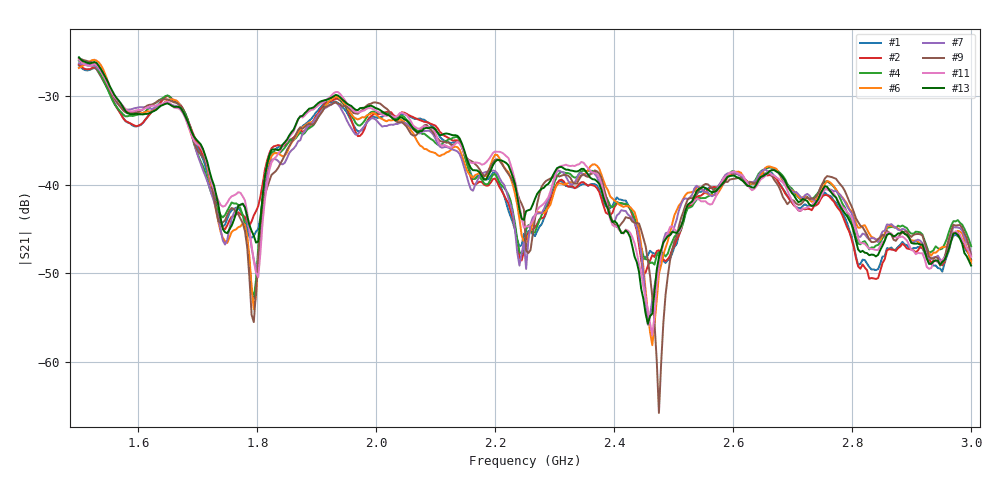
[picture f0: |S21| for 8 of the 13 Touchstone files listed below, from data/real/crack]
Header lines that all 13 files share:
# HZ S RI R 50
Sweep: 1.5 GHz to 3 GHz
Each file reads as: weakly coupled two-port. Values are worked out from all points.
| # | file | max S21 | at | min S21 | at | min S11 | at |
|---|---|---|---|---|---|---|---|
| 1 | Crack_078.s2p | -26.52 dB | 1.5 GHz | -49.8 dB | 2.952 GHz | -38.4 dB | 2.23 GHz |
| 2 | Crack_079.s2p | -26.41 dB | 1.5 GHz | -50.6 dB | 2.84 GHz | -38.3 dB | 2.23 GHz |
| 3 | Crack_080.s2p | -26.58 dB | 1.5 GHz | -55.6 dB | 2.244 GHz | -40.2 dB | 2.23 GHz |
| 4 | Crack_081.s2p | -25.96 dB | 1.5 GHz | -52.9 dB | 1.794 GHz | -39.7 dB | 2.23 GHz |
| 5 | Crack_083.s2p | -26.21 dB | 1.5 GHz | -52.8 dB | 2.464 GHz | -38.1 dB | 2.23 GHz |
| 6 | Crack_085.s2p | -25.86 dB | 1.526 GHz | -58.1 dB | 2.464 GHz | -37.8 dB | 2.23 GHz |
| 7 | Crack_086.s2p | -26.26 dB | 1.5 GHz | -55.8 dB | 2.457 GHz | -37.0 dB | 2.23 GHz |
| 8 | Crack_088.s2p | -26.07 dB | 1.5 GHz | -54.2 dB | 1.798 GHz | -37.9 dB | 2.23 GHz |
| 9 | Crack_089.s2p | -25.70 dB | 1.5 GHz | -65.8 dB | 2.475 GHz | -48.4 dB | 2.36 GHz |
| 10 | Crack_092.s2p | -25.58 dB | 1.5 GHz | -53.3 dB | 2.464 GHz | -39.5 dB | 2.23 GHz |
| 11 | Crack_094.s2p | -25.84 dB | 1.5 GHz | -57.0 dB | 2.464 GHz | -40.5 dB | 2.23 GHz |
| 12 | Crack_097.s2p | -25.76 dB | 1.5 GHz | -61.3 dB | 2.464 GHz | -39.2 dB | 2.23 GHz |
| 13 | Crack_100.s2p | -25.58 dB | 1.5 GHz | -55.7 dB | 2.457 GHz | -39.7 dB | 2.23 GHz |
